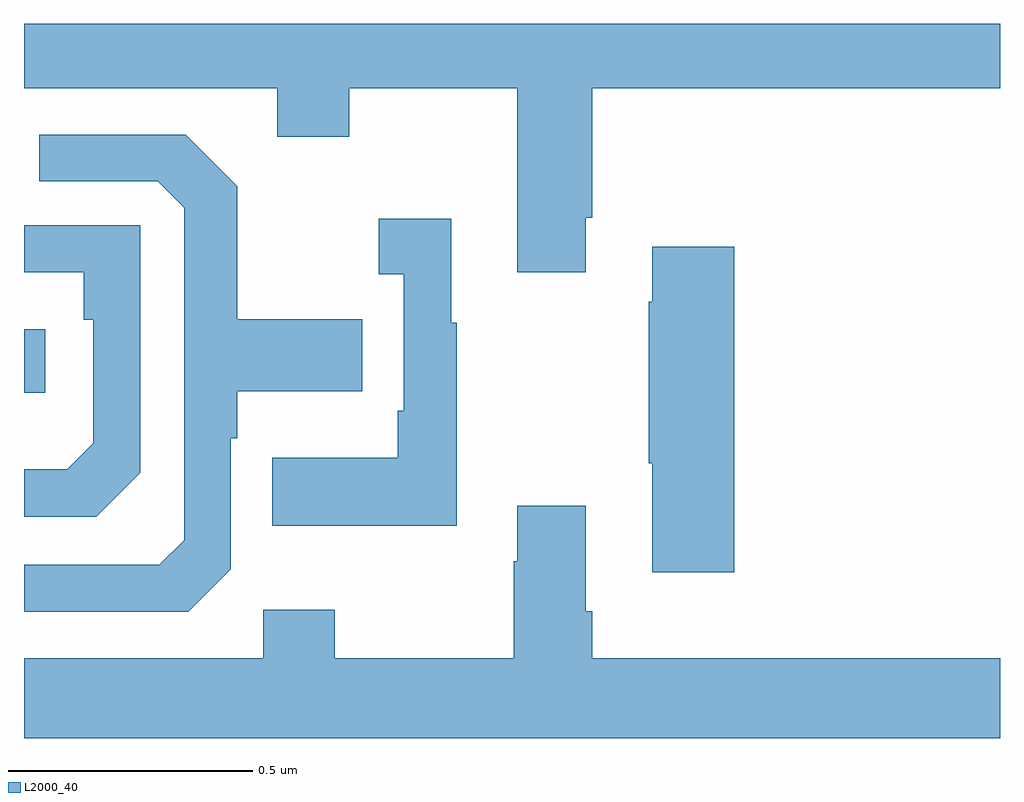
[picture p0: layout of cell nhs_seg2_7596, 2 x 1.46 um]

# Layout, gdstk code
import gdstk
lib = gdstk.Library(unit=1e-6, precision=1e-09)
def R(c, l, rs):  # rectangles x0, y0, x1, y1
    for r in rs: c.add(gdstk.rectangle(r[:2], r[2:], *l))
def P(c, l, *ps):  # polygons
    for p in ps: c.add(gdstk.Polygon(p, *l))
L2000_40 = (2000, 40)

nhs_seg2_7596 = lib.new_cell('nhs_seg2_7596')
R(nhs_seg2_7596, L2000_40, [(206,615.044,206.044,615.174)])
P(nhs_seg2_7596, L2000_40, [(207.151,615.403),(207.164,615.403),(207.164,615.668),(208,615.668),(208,615.8),(206,615.8),(206,615.668),(206.519,615.668),(206.519,615.569),(206.667,615.569),(206.667,615.668),(207.011,615.668),(207.011,615.291),(207.151,615.291)],
  [(206.424,614.682),(206.424,614.951),(206.437,614.951),(206.437,615.047),(206.693,615.047),(206.693,615.195),(206.437,615.195),(206.437,615.467),(206.331,615.573),(206.031,615.573),(206.031,615.477),(206.274,615.477),(206.328,615.423),(206.328,614.742),(206.277,614.691),(206.001,614.691),(206.001,614.595),(206.337,614.595)],
  [(206.887,615.187),(206.875,615.187),(206.875,615.4),(206.727,615.4),(206.727,615.287),(206.778,615.287),(206.778,615.007),(206.766,615.007),(206.766,614.911),(206.509,614.911),(206.509,614.771),(206.887,614.771)],
  [(206.238,614.88),(206.238,615.387),(206,615.387),(206,615.291),(206.122,615.291),(206.122,615.194),(206.142,615.194),(206.142,614.94),(206.089,614.887),(206,614.887),(206,614.79),(206.148,614.79)],
  [(207.455,615.343),(207.287,615.343),(207.287,615.23),(207.28,615.23),(207.28,614.899),(207.287,614.899),(207.287,614.676),(207.455,614.676)],
  [(208,614.5),(207.164,614.5),(207.164,614.596),(207.151,614.596),(207.151,614.812),(207.011,614.812),(207.011,614.699),(207.004,614.699),(207.004,614.5),(206.637,614.5),(206.637,614.599),(206.49,614.599),(206.49,614.5),(206,614.5),(206,614.336),(208,614.336)])

lib.write_gds('nhs_seg2_7596.gds')
